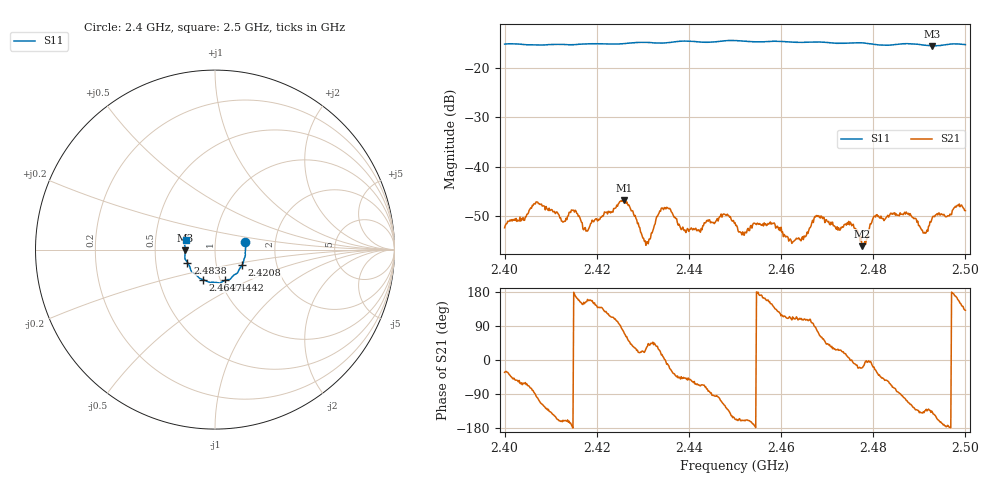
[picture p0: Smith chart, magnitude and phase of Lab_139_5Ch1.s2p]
# Hz S RI R 50
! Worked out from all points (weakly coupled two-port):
!   601 points, 2.4 GHz to 2.5 GHz, reference 50 ohm
!   highest |S21| = -46.83 dB at 2.4258 GHz (marker M1); lowest = -56.1 dB at 2.4777 GHz (marker M2)
!   lowest |S11| = -15.6 dB at 2.4928 GHz (marker M3), VSWR 1.40, Z = 35.8 - j0.345 ohm
!   |S11| at or under -10 dB: start of sweep to end of sweep
!   S12 and S22 are empty: the file has one direction only
!   S11 on the Smith chart (normalised r, x): 2.4 GHz: 1.40, +0.12; 2.4208 GHz: 1.33, -0.24; 2.4442 GHz: 1.05, -0.37; 2.4647 GHz: 0.83, -0.29; 2.4838 GHz: 0.73, -0.11; 2.5 GHz: 0.72, +0.08
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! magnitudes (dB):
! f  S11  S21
! 2.4 GHz  -15.2  -52.4
! 2.407 GHz  -15.4  -47.2
! 2.4167 GHz  -15.2  -51.2
! 2.4208 GHz  -15.2  -50.3
! 2.4258 GHz  -15.2  -46.8
! 2.4307 GHz  -14.9  -55.9
! 2.4333 GHz  -15.0  -49.7
! 2.4357 GHz  -14.9  -48.5
! 2.4395 GHz  -14.6  -53.0
! 2.4442 GHz  -14.9  -51.1
! 2.45 GHz  -14.5  -51.3
! 2.4647 GHz  -14.9  -54.2
! 2.4667 GHz  -14.8  -51.4
! 2.4752 GHz  -15.0  -51.5
! 2.4777 GHz  -15.0  -56.1
! 2.4803 GHz  -15.3  -50.0
! 2.4833 GHz  -15.5  -50.2
! 2.4838 GHz  -15.4  -49.4
! 2.4877 GHz  -15.2  -49.5
! 2.4913 GHz  -15.5  -53.5
! 2.4928 GHz  -15.6  -50.3
! 2.5 GHz  -15.3  -48.9
